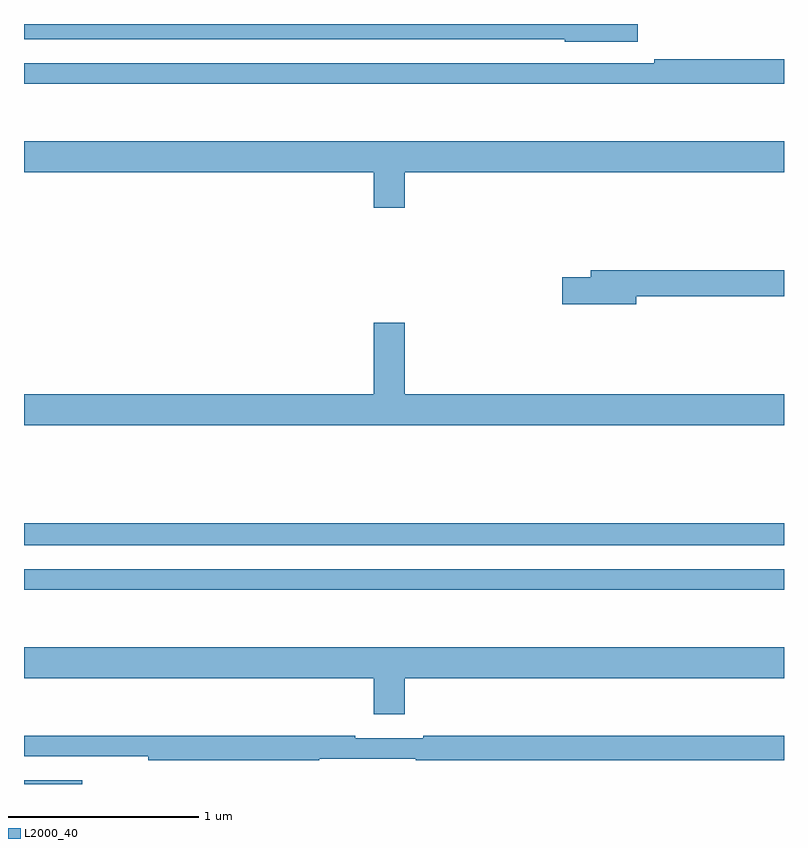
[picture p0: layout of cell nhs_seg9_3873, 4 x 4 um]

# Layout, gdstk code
import gdstk
lib = gdstk.Library(unit=1e-6, precision=1e-09)
def R(c, l, rs):  # rectangles x0, y0, x1, y1
    for r in rs: c.add(gdstk.rectangle(r[:2], r[2:], *l))
def P(c, l, *ps):  # polygons
    for p in ps: c.add(gdstk.Polygon(p, *l))
L2000_40 = (2000, 40)

nhs_seg9_3873 = lib.new_cell('nhs_seg9_3873')
R(nhs_seg9_3873, L2000_40, [(331,1226.5,331.306,1226.52), (331,1227.522,335,1227.63), (331,1227.756,335,1227.872)])
P(nhs_seg9_3873, L2000_40, [(334.231,1230.5),(331,1230.5),(331,1230.42),(333.846,1230.42),(333.846,1230.407),(334.231,1230.407)],
  [(335,1230.314),(334.318,1230.314),(334.318,1230.294),(331,1230.294),(331,1230.186),(335,1230.186)],
  [(333.004,1229.72),(335,1229.72),(335,1229.884),(331,1229.884),(331,1229.72),(332.84,1229.72),(332.84,1229.532),(333.004,1229.532)],
  [(334.222,1229.068),(335,1229.068),(335,1229.204),(333.983,1229.204),(333.983,1229.168),(333.834,1229.168),(333.834,1229.026),(334.222,1229.026)],
  [(335,1228.552),(333.004,1228.552),(333.004,1228.927),(332.84,1228.927),(332.84,1228.552),(331,1228.552),(331,1228.388),(335,1228.388)],
  [(333.004,1227.056),(335,1227.056),(335,1227.22),(331,1227.22),(331,1227.056),(332.84,1227.056),(332.84,1226.868),(333.004,1226.868)],
  [(332.554,1226.634),(333.062,1226.634),(333.062,1226.626),(335,1226.626),(335,1226.755),(333.1,1226.755),(333.1,1226.742),(332.744,1226.742),(332.744,1226.755),(331,1226.755),(331,1226.646),(331.402,1226.646),(331.402,1226.645),(331.654,1226.645),(331.654,1226.626),(332.554,1226.626)])

lib.write_gds('nhs_seg9_3873.gds')
